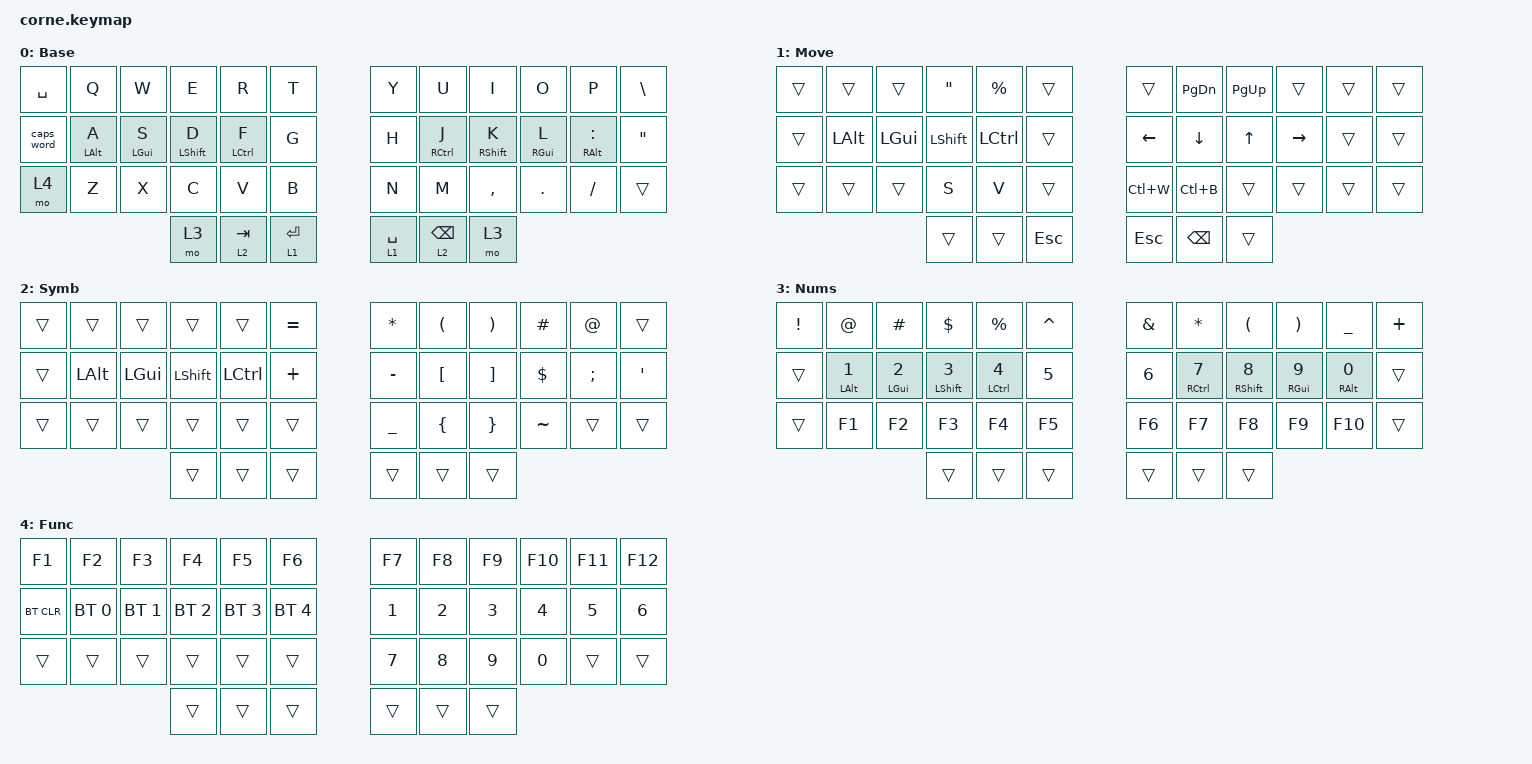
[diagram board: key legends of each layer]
/*
 * Copyright (c) 2020 The ZMK Contributors
 *
 * SPDX-License-Identifier: MIT
 */

#include <behaviors.dtsi>
#include <dt-bindings/zmk/keys.h>
#include <dt-bindings/zmk/bt.h>
#include <dt-bindings/zmk/behaviors.h>

/ {
        behaviors {
            mt: mod_tap {
                compatible = "zmk,behavior-hold-tap";
                #binding-cells = <2>;
                flavor = "balanced";
                tapping-term-ms = <200>;
                bindings = <&kp>, <&kp>;
                display-name = "Mod-Tap";
            };
        };
        keymap {
                compatible = "zmk,keymap";

                default_layer {
// ------------------------------------------------------------------------------------------
// | SPC  |  Q   |  W   |  E   |  R     |   T    |   |   Y    |   U     |  I   |  O   |  P     | BSLH  |
// |CW_TOG| A/ALT| S/GUI| D/SFT| F/CTL  |   G    |   |   H    |  J/CTL  | K/SFT| L/GUI| :/ALT  | DQT   |
// | MO4  |  Z   |  X   |  C   |  V     |   B    |   |   N    |   M     |  ,   |  .   | /      | TRANS |
//                      | MO3  | L2/TAB | L1/RET |   | L1/SPC | L2/BSPC | MO3  |
                        display-name = "Base";
                        bindings = <
    &kp SPACE   &kp Q       &kp W       &kp E        &kp R        &kp T      &kp Y  &kp U        &kp I        &kp O       &kp P           &kp BSLH
    &caps_word  &mt LALT A  &mt LGUI S  &mt LSHFT D  &mt LCTRL F  &kp G      &kp H  &mt RCTRL J  &mt RSHFT K  &mt RGUI L  &mt RALT COLON  &kp DQT
    &mo 4       &kp Z       &kp X       &kp C        &kp V        &kp B      &kp N  &kp M        &kp COMMA    &kp DOT     &kp FSLH        &trans
                                        &mo 3        &lt 2 TAB    &lt 1 RET  &lt 1 SPACE         &lt 2 BSPC   &mo 3
                        >;
                };

                movement_layer {
// -----------------------------------------------------------------------------------------
// | MBTN3|  -  |  -  | DQT | PRCNT|  -  |   |  -  | PGDN | PGUP |  -  |  -  |  -  |
// |  -   | ALT | GUI | SHFT| CTRL |  -  |   | LEFT| DOWN |  UP  | RGHT|  -  |  -  |
// |  -   |  -  |  -  |  S  |  V   |  -  |   |LC(W)| LC(B)|  -   |  -  |  -  |  -  |
//                    |  -  |  -   | ESC |   | ESC | BSPC |  -   |
                        display-name = "Move";
                        bindings = <
    &trans    &trans    &trans    &kp DQT    &kp PRCNT  &trans      &trans     &kp PG_DN  &kp PG_UP  &trans     &trans  &trans
    &trans    &kp LALT  &kp LGUI  &kp LSHFT  &kp LCTRL  &trans      &kp LEFT   &kp DOWN   &kp UP     &kp RIGHT  &trans  &trans
    &trans    &trans    &trans    &kp S      &kp V      &trans      &kp LC(W)  &kp LC(B)  &trans     &trans     &trans  &trans
                                  &trans     &trans     &kp ESC     &kp ESC    &kp BSPC   &trans
                        >;
                };

                symbols_layer {
// -----------------------------------------------------------------------------------------
// |  -   |  -  |  -  |  -  |  -  |  -  |   | ASTR| LPAR| RPAR| PLUS|  AT |  -  |
// |  -   | ALT | GUI | SHFT| CTRL|  -  |   | MINS| LBRC| RBRC| DLR | SCLN| QUOT|
// |  -   |  -  |  -  |  -  |  -  |  -  |   | UNDS| LCBR| RCBR| TILD|  -  |  -  |
//                    |  -  | --- | --- |   | --- | --- |  -  |
                        display-name = "Symb";
                        bindings = <
   &trans     &trans    &trans    &trans    &trans    &kp EQUAL  &kp ASTRK    &kp LPAR     &kp RPAR  &kp HASH  &kp AT    &trans
   &trans     &kp LALT  &kp LGUI  &kp LSHFT &kp LCTRL &kp PLUS   &kp MINUS    &kp LBKT     &kp RBKT  &kp DLLR  &kp SEMI  &kp SQT
   &trans     &trans    &trans    &trans    &trans    &trans     &kp UNDER    &kp LBRC     &kp RBRC  &kp TILDE &trans    &trans
                                  &trans    &trans    &trans     &trans       &trans       &trans
                        >;
                };
                number_layer {
// -----------------------------------------------------------------------------------------
// | !    | @   | #   | $    | %    | ^   |   | &   | *    | (    | )   | _   | +   |
// | -    |1/ALT|2/GUI|3/SHFT|4/CTRL| 5   |   | 6   |7/CTRL|8/SHFT|9/GUI|0/ALT| -   |
// | -    | F1  | F2  | F3   | F4   | F5  |   | F6  | F7   | F8   | F9  | F10 | -   |
//                    | -    | -    | -   |   | -   | -    | -    |
                        display-name = "Nums";
                        bindings = <
    &kp EXCL  &kp AT       &kp HASH     &kp DLLR      &kp PRCNT     &kp CARET  &kp AMPS  &kp ASTRK     &kp LPAR      &kp RPAR     &kp UNDER    &kp PLUS
    &trans    &mt LALT N1  &mt LGUI N2  &mt LSHFT N3  &mt LCTRL N4  &kp N5     &kp N6    &mt RCTRL N7  &mt RSHFT N8  &mt RGUI N9  &mt RALT N0  &trans
    &trans    &kp F1       &kp F2       &kp F3        &kp F4        &kp F5     &kp F6    &kp F7        &kp F8        &kp F9       &kp F10      &trans
                                        &trans        &trans        &trans     &trans    &trans        &trans
                        >;
                };
                function_layer {
// -----------------------------------------------------------------------------------------
// |  F1  | F2  | F3  | F4  | F5  | F6  |   | F7  | F8  | F9  | F10 | F11 | F12 |
// | BTCLR| BT1 | BT2 | BT3 | BT4 | BT5 |   |  1  |  2  |  3  |  4  |  5  |  6  |
// |  -   |  -  |  -  |  -  |  -  |  -  |   |  7  |  8  |  9  |  0  |  -  |  -  |
//                    |  -  |  -  | --- |   | --- |  -  |  -  |
                        display-name = "Func";
                        bindings = <
    &kp F1      &kp F2        &kp F3        &kp F4        &kp F5        &kp F6        &kp F7  &kp F8  &kp F9  &kp F10  &kp F11  &kp F12
    &bt BT_CLR  &bt BT_SEL 0  &bt BT_SEL 1  &bt BT_SEL 2  &bt BT_SEL 3  &bt BT_SEL 4  &kp N1  &kp N2  &kp N3  &kp N4   &kp N5   &kp N6
    &trans      &trans        &trans        &trans        &trans        &trans        &kp N7  &kp N8  &kp N9  &kp N0   &trans   &trans
                                            &trans        &trans        &trans        &trans  &trans  &trans
                        >;
                };
        };
};
